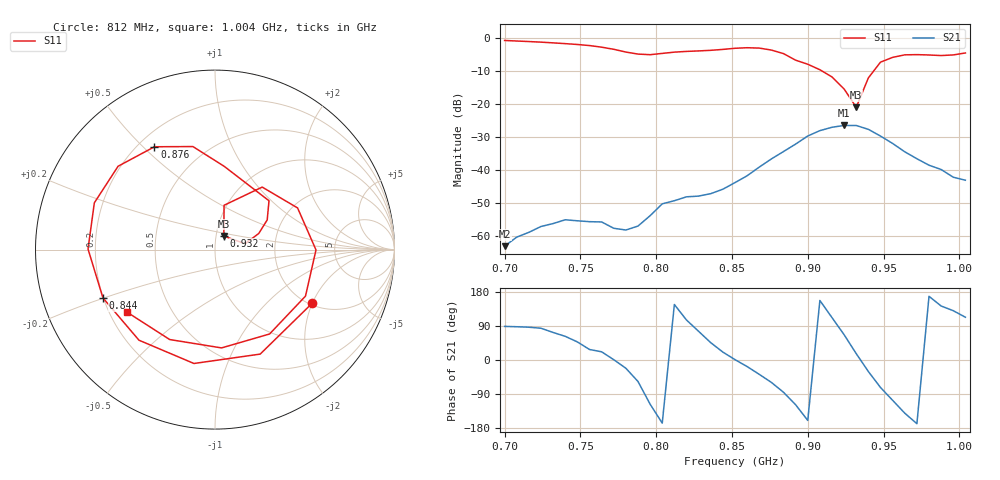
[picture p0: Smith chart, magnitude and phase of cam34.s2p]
# Hz S RI R 50
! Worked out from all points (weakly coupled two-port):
!   39 points, 700 MHz to 1.004 GHz, reference 50 ohm
!   highest |S21| = -26.38 dB at 924 MHz (marker M1); lowest = -62.9 dB at 700 MHz (marker M2)
!   lowest |S11| = -20.9 dB at 932 MHz (marker M3), VSWR 1.20, Z = 54.5 + j8.31 ohm
!   |S11| at or under -10 dB: 909.8 MHz to 943.3 MHz (33.5 MHz wide, 3.62 % of centre)
!   S12 and S22 are empty: the file has one direction only
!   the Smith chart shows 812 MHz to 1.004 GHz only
!   S11 on the Smith chart (normalised r, x): 812 MHz: 2.06, -1.99; 844 MHz: 0.20, -0.20; 876 MHz: 0.26, +0.54; 932 MHz: 1.09, +0.17; 1.004 GHz: 0.27, -0.30
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7e8  0.7629 0.5306  1.68e-05 0.000712  0 0  0 0
7.24e8  0.8367 -0.2608  0.000152 0.00141  0 0  0 0
7.4e8  0.4447 -0.7031  0.000827 0.00159  0 0  0 0
7.56e8  -0.1963 -0.7529  0.00148 0.000779  0 0  0 0
7.72e8  -0.6555 -0.1914  0.00133 2.07e-05  0 0  0 0
7.8e8  -0.5769 0.2276  0.00116 -0.000464  0 0  0 0
7.88e8  -0.2254 0.5323  0.00079 -0.0012  0 0  0 0
7.96e8  0.258 0.5035  -0.000924 -0.00184  0 0  0 0
8.04e8  0.5726 0.1481  -0.00303 -0.000726  0 0  0 0
8.12e8  0.5412 -0.2991  -0.0029 0.00192  0 0  0 0
8.28e8  -0.1172 -0.6345  0.00101 0.00395  0 0  0 0
8.44e8  -0.6241 -0.2695  0.00485 0.00184  0 0  0 0
8.52e8  -0.7075 0.00312  0.00654 0.000112  0 0  0 0
8.76e8  -0.3372 0.5729  0.00765 -0.0128  0 0  0 0
9e8  0.3008 0.2721  -0.0311 -0.0117  0 0  0 0
9.08e8  0.291 0.1656  -0.0369 0.0156  0 0  0 0
9.24e8  0.1678 0.0324  0.019 0.044  0 0  0 0
9.32e8  0.0495 0.0755  0.0459 0.0138  0 0  0 0
9.4e8  0.0504 0.2469  0.0361 -0.0212  0 0  0 0
9.56e8  0.4601 0.232  -0.00723 -0.0245  0 0  0 0
9.8e8  0.304 -0.4702  -0.0117 0.00249  0 0  0 0
1.004e9  -0.4888 -0.3494  -0.00276 0.00655  0 0  0 0
